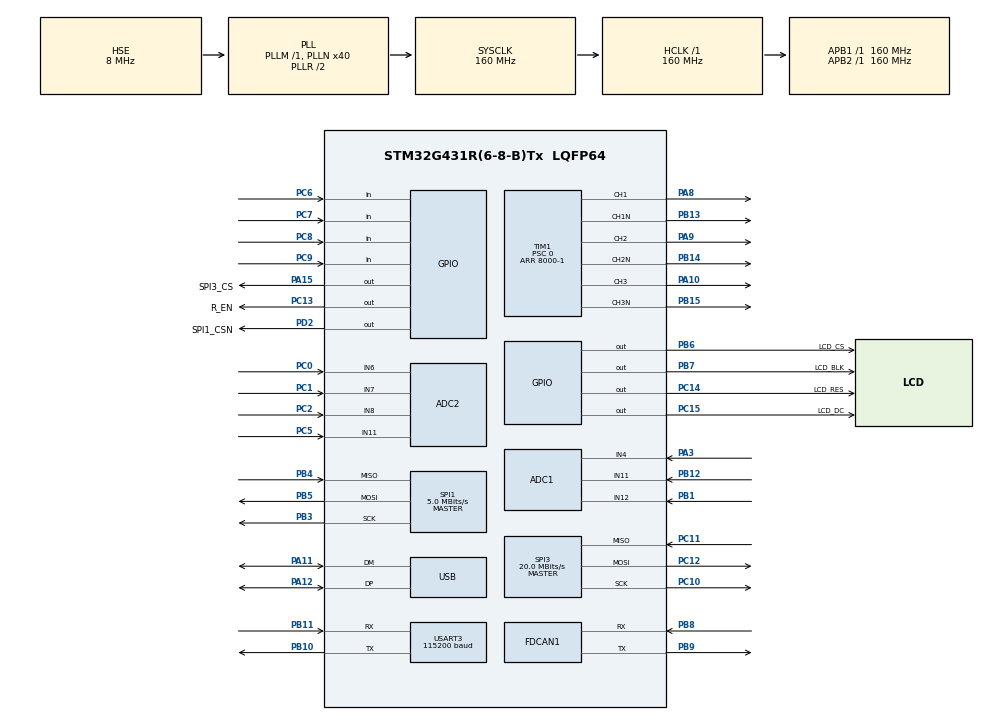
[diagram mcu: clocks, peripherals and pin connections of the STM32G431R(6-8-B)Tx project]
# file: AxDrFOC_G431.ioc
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ADC1.ContinuousConvMode=DISABLE
ADC1.DMAContinuousRequests=ENABLE
ADC1.DiscontinuousConvMode=ENABLE
ADC1.EOCSelection=ADC_EOC_SEQ_CONV
ADC1.EnableInjectedConversion=ENABLE
ADC1.EnableRegularConversion=DISABLE
ADC1.ExternalTrigInjecConv=ADC_EXTERNALTRIGINJEC_T1_TRGO2
ADC1.ExternalTrigInjecConvEdge=ADC_EXTERNALTRIGINJECCONV_EDGE_RISING
ADC1.InjNumberOfConversion=2
ADC1.InjectedChannel-1\#ChannelInjectedConversion=ADC_CHANNEL_4
ADC1.InjectedChannel-6\#ChannelInjectedConversion=ADC_CHANNEL_4
ADC1.InjectedConvMode=Discontinuous
ADC1.InjectedOffsetNumber-1\#ChannelInjectedConversion=ADC_OFFSET_NONE
ADC1.InjectedOffsetNumber-6\#ChannelInjectedConversion=ADC_OFFSET_NONE
ADC1.InjectedRank-1\#ChannelInjectedConversion=1
ADC1.InjectedRank-6\#ChannelInjectedConversion=2
ADC1.InjectedSamplingTime-1\#ChannelInjectedConversion=ADC_SAMPLETIME_12CYCLES_5
ADC1.InjectedSamplingTime-6\#ChannelInjectedConversion=ADC_SAMPLETIME_12CYCLES_5
ADC1.Rank2_Channel=ADC_CHANNEL_4
ADC1.master=1
ADC2.Channel-11\#ChannelRegularConversion=ADC_CHANNEL_11
ADC2.Channel-12\#ChannelRegularConversion=ADC_CHANNEL_6
ADC2.Channel-13\#ChannelRegularConversion=ADC_CHANNEL_7
ADC2.Channel-14\#ChannelRegularConversion=ADC_CHANNEL_8
ADC2.ContinuousConvMode=ENABLE
ADC2.DMAContinuousRequests=ENABLE
ADC2.EnableInjectedConversion=ENABLE
ADC2.EnableRegularConversion=ENABLE
ADC2.ExternalTrigInjecConv=ADC_EXTERNALTRIGINJEC_T1_CC4
ADC2.ExternalTrigInjecConvEdge=ADC_EXTERNALTRIGINJECCONV_EDGE_FALLING
ADC2.InjNumberOfConversion=1
ADC2.InjectedChannel-1\#ChannelInjectedConversion=ADC_CHANNEL_11
ADC2.InjectedOffsetNumber-1\#ChannelInjectedConversion=ADC_OFFSET_NONE
ADC2.InjectedRank-1\#ChannelInjectedConversion=1
ADC2.InjectedSamplingTime-1\#ChannelInjectedConversion=ADC_SAMPLETIME_47CYCLES_5
ADC2.NbrOfConversion=4
ADC2.NbrOfConversionFlag=1
ADC2.OffsetNumber-11\#ChannelRegularConversion=ADC_OFFSET_NONE
ADC2.OffsetNumber-12\#ChannelRegularConversion=ADC_OFFSET_NONE
ADC2.OffsetNumber-13\#ChannelRegularConversion=ADC_OFFSET_NONE
ADC2.OffsetNumber-14\#ChannelRegularConversion=ADC_OFFSET_NONE
ADC2.Rank-11\#ChannelRegularConversion=1
ADC2.Rank-12\#ChannelRegularConversion=2
ADC2.Rank-13\#ChannelRegularConversion=3
ADC2.Rank-14\#ChannelRegularConversion=4
ADC2.SamplingTime-11\#ChannelRegularConversion=ADC_SAMPLETIME_640CYCLES_5
ADC2.SamplingTime-12\#ChannelRegularConversion=ADC_SAMPLETIME_47CYCLES_5
ADC2.SamplingTime-13\#ChannelRegularConversion=ADC_SAMPLETIME_47CYCLES_5
ADC2.SamplingTime-14\#ChannelRegularConversion=ADC_SAMPLETIME_47CYCLES_5
Dma.ADC1.3.Direction=DMA_PERIPH_TO_MEMORY
Dma.ADC1.3.EventEnable=DISABLE
Dma.ADC1.3.Instance=DMA1_Channel4
Dma.ADC1.3.MemDataAlignment=DMA_MDATAALIGN_HALFWORD
Dma.ADC1.3.MemInc=DMA_MINC_ENABLE
Dma.ADC1.3.Mode=DMA_CIRCULAR
Dma.ADC1.3.PeriphDataAlignment=DMA_PDATAALIGN_HALFWORD
Dma.ADC1.3.PeriphInc=DMA_PINC_DISABLE
Dma.ADC1.3.Polarity=HAL_DMAMUX_REQ_GEN_RISING
Dma.ADC1.3.Priority=DMA_PRIORITY_LOW
Dma.ADC1.3.RequestNumber=1
Dma.ADC1.3.SignalID=NONE
Dma.ADC1.3.SyncEnable=DISABLE
Dma.ADC1.3.SyncPolarity=HAL_DMAMUX_SYNC_NO_EVENT
Dma.ADC1.3.SyncRequestNumber=1
Dma.ADC1.3.SyncSignalID=NONE
Dma.ADC2.2.Direction=DMA_PERIPH_TO_MEMORY
Dma.ADC2.2.EventEnable=DISABLE
Dma.ADC2.2.Instance=DMA1_Channel3
Dma.ADC2.2.MemDataAlignment=DMA_MDATAALIGN_HALFWORD
Dma.ADC2.2.MemInc=DMA_MINC_ENABLE
Dma.ADC2.2.Mode=DMA_CIRCULAR
Dma.ADC2.2.PeriphDataAlignment=DMA_PDATAALIGN_HALFWORD
Dma.ADC2.2.PeriphInc=DMA_PINC_DISABLE
Dma.ADC2.2.Polarity=HAL_DMAMUX_REQ_GEN_RISING
Dma.ADC2.2.Priority=DMA_PRIORITY_LOW
Dma.ADC2.2.RequestNumber=1
Dma.ADC2.2.SignalID=NONE
Dma.ADC2.2.SyncEnable=DISABLE
Dma.ADC2.2.SyncPolarity=HAL_DMAMUX_SYNC_NO_EVENT
Dma.ADC2.2.SyncRequestNumber=1
Dma.ADC2.2.SyncSignalID=NONE
Dma.Request0=USART3_RX
Dma.Request1=USART3_TX
Dma.Request2=ADC2
Dma.Request3=ADC1
Dma.USART3_RX.0.Direction=DMA_PERIPH_TO_MEMORY
Dma.USART3_RX.0.EventEnable=DISABLE
Dma.USART3_RX.0.Instance=DMA2_Channel1
Dma.USART3_RX.0.MemDataAlignment=DMA_MDATAALIGN_BYTE
Dma.USART3_RX.0.MemInc=DMA_MINC_ENABLE
Dma.USART3_RX.0.Mode=DMA_NORMAL
Dma.USART3_RX.0.PeriphDataAlignment=DMA_PDATAALIGN_BYTE
Dma.USART3_RX.0.PeriphInc=DMA_PINC_DISABLE
Dma.USART3_RX.0.Polarity=HAL_DMAMUX_REQ_GEN_RISING
Dma.USART3_RX.0.Priority=DMA_PRIORITY_LOW
Dma.USART3_RX.0.RequestNumber=1
Dma.USART3_RX.0.SignalID=NONE
Dma.USART3_RX.0.SyncEnable=DISABLE
Dma.USART3_RX.0.SyncPolarity=HAL_DMAMUX_SYNC_NO_EVENT
Dma.USART3_RX.0.SyncRequestNumber=1
Dma.USART3_RX.0.SyncSignalID=NONE
Dma.USART3_TX.1.Direction=DMA_MEMORY_TO_PERIPH
Dma.USART3_TX.1.EventEnable=DISABLE
Dma.USART3_TX.1.Instance=DMA1_Channel2
Dma.USART3_TX.1.MemDataAlignment=DMA_MDATAALIGN_BYTE
Dma.USART3_TX.1.MemInc=DMA_MINC_ENABLE
Dma.USART3_TX.1.Mode=DMA_NORMAL
Dma.USART3_TX.1.PeriphDataAlignment=DMA_PDATAALIGN_BYTE
Dma.USART3_TX.1.PeriphInc=DMA_PINC_DISABLE
Dma.USART3_TX.1.Polarity=HAL_DMAMUX_REQ_GEN_RISING
Dma.USART3_TX.1.Priority=DMA_PRIORITY_LOW
Dma.USART3_TX.1.RequestNumber=1
Dma.USART3_TX.1.SignalID=NONE
Dma.USART3_TX.1.SyncEnable=DISABLE
Dma.USART3_TX.1.SyncPolarity=HAL_DMAMUX_SYNC_NO_EVENT
Dma.USART3_TX.1.SyncRequestNumber=1
Dma.USART3_TX.1.SyncSignalID=NONE
FDCAN1.AutoRetransmission=ENABLE
FDCAN1.CalculateBaudRateNominal=1000000
FDCAN1.CalculateTimeBitNominal=1000
FDCAN1.CalculateTimeQuantumNominal=12.5
FDCAN1.DataPrescaler=1
FDCAN1.DataSyncJumpWidth=1
FDCAN1.DataTimeSeg1=14
FDCAN1.DataTimeSeg2=1
FDCAN1.ExtFiltersNbr=8
FDCAN1.FrameFormat=FDCAN_FRAME_FD_BRS
FDCAN1.NominalPrescaler=1
FDCAN1.NominalSyncJumpWidth=20
FDCAN1.NominalTimeSeg1=59
FDCAN1.NominalTimeSeg2=20
FDCAN1.ProtocolException=DISABLE
FDCAN1.StdFiltersNbr=16
FDCAN1.TransmitPause=ENABLE
Mcu.Family=STM32G4
Mcu.Name=STM32G431R(6-8-B)Tx
Mcu.Package=LQFP64
NVIC.ADC1_2_IRQn=true\:0\:0\:true\:false\:true\:true\:true\:true
NVIC.DMA1_Channel2_IRQn=true\:0\:0\:false\:false\:true\:false\:true\:true
NVIC.DMA1_Channel3_IRQn=true\:0\:0\:false\:false\:true\:false\:true\:true
NVIC.DMA1_Channel4_IRQn=true\:0\:0\:false\:false\:true\:false\:true\:true
NVIC.DMA2_Channel1_IRQn=true\:0\:0\:false\:false\:true\:false\:true\:true
NVIC.PriorityGroup=NVIC_PRIORITYGROUP_4
NVIC.TIM1_UP_TIM16_IRQn=true\:1\:0\:true\:false\:true\:true\:true\:true
NVIC.TIM3_IRQn=true\:2\:0\:true\:false\:true\:true\:true\:true
NVIC.USART3_IRQn=true\:0\:0\:false\:false\:true\:true\:true\:true
NVIC.USB_LP_IRQn=true\:3\:0\:true\:false\:true\:true\:true\:true
PA10.Signal=S_TIM1_CH3
PA11.Mode=Device
PA11.Signal=USB_DM
PA12.Mode=Device
PA12.Signal=USB_DP
PA13.Mode=Serial_Wire
PA13.Signal=SYS_JTMS-SWDIO
PA14.Mode=Serial_Wire
PA14.Signal=SYS_JTCK-SWCLK
PA15.GPIO_Label=SPI3_CS
PA15.GPIO_PuPd=GPIO_PULLUP
PA15.Signal=GPIO_Output
PA3.Mode=IN4-Single-Ended
PA3.Signal=ADC1_IN4
PA8.Signal=S_TIM1_CH1
PA9.Signal=S_TIM1_CH2
PB1.Mode=IN12-Single-Ended
PB1.Signal=ADC1_IN12
PB10.Mode=Asynchronous
PB10.Signal=USART3_TX
PB11.Mode=Asynchronous
PB11.Signal=USART3_RX
PB12.Mode=IN11-Single-Ended
PB12.Signal=ADC1_IN11
PB13.Mode=PWM Generation1 CH1 CH1N
PB13.Signal=TIM1_CH1N
PB14.Mode=PWM Generation2 CH2 CH2N
PB14.Signal=TIM1_CH2N
PB15.Mode=PWM Generation3 CH3 CH3N
PB15.Signal=TIM1_CH3N
PB3.Mode=Full_Duplex_Master
PB3.Signal=SPI1_SCK
PB4.Mode=Full_Duplex_Master
PB4.Signal=SPI1_MISO
PB5.Mode=Full_Duplex_Master
PB5.Signal=SPI1_MOSI
PB6.GPIO_Label=LCD_CS
PB6.GPIO_PuPd=GPIO_PULLDOWN
PB6.PinState=GPIO_PIN_RESET
PB6.Signal=GPIO_Output
PB7.GPIO_Label=LCD_BLK
PB7.GPIO_PuPd=GPIO_PULLDOWN
PB7.Signal=GPIO_Output
PB8-BOOT0.Mode=FDCAN_Activate
PB8-BOOT0.Signal=FDCAN1_RX
PB9.Mode=FDCAN_Activate
PB9.Signal=FDCAN1_TX
PC0.Mode=IN6-Single-Ended
PC0.Signal=ADC2_IN6
PC1.Mode=IN7-Single-Ended
PC1.Signal=ADC2_IN7
PC10.Mode=Full_Duplex_Master
PC10.Signal=SPI3_SCK
PC11.Mode=Full_Duplex_Master
PC11.Signal=SPI3_MISO
PC12.Mode=Full_Duplex_Master
PC12.Signal=SPI3_MOSI
PC13.GPIO_Label=R_EN
PC13.Signal=GPIO_Output
PC14-OSC32_IN.GPIO_Label=LCD_RES
PC14-OSC32_IN.GPIO_PuPd=GPIO_PULLUP
PC14-OSC32_IN.PinState=GPIO_PIN_SET
PC14-OSC32_IN.Signal=GPIO_Output
PC15-OSC32_OUT.GPIO_Label=LCD_DC
PC15-OSC32_OUT.GPIO_PuPd=GPIO_PULLDOWN
PC15-OSC32_OUT.PinState=GPIO_PIN_SET
PC15-OSC32_OUT.Signal=GPIO_Output
PC2.Mode=IN8-Single-Ended
PC2.Signal=ADC2_IN8
PC5.Mode=IN11-Single-Ended
PC5.Signal=ADC2_IN11
PC6.GPIO_PuPd=GPIO_PULLUP
PC6.Signal=GPIO_Input
PC7.GPIO_PuPd=GPIO_PULLUP
PC7.Signal=GPIO_Input
PC8.GPIO_PuPd=GPIO_PULLUP
PC8.Signal=GPIO_Input
PC9.GPIO_PuPd=GPIO_PULLUP
PC9.Signal=GPIO_Input
PD2.GPIO_Label=SPI1_CSN
PD2.GPIO_PuPd=GPIO_PULLDOWN
PD2.Signal=GPIO_Output
PF0-OSC_IN.Mode=HSE-External-Oscillator
PF0-OSC_IN.Signal=RCC_OSC_IN
PF1-OSC_OUT.Mode=HSE-External-Oscillator
PF1-OSC_OUT.Signal=RCC_OSC_OUT
ProjectManager.HeapSize=0x200
ProjectManager.StackSize=0x400
ProjectManager.TargetToolchain=MDK-ARM V5.32
RCC.ADC12Freq_Value=160000000
RCC.ADC345Freq_Value=160000000
RCC.AHBFreq_Value=160000000
RCC.APB1Freq_Value=160000000
RCC.APB1TimFreq_Value=160000000
RCC.APB2Freq_Value=160000000
RCC.APB2TimFreq_Value=160000000
RCC.CK48CLockSelection=RCC_USBCLKSOURCE_HSI48
RCC.CortexFreq_Value=160000000
RCC.EXTERNAL_CLOCK_VALUE=12288000
RCC.FDCANCLockSelection=RCC_FDCANCLKSOURCE_PLL
RCC.HCLKFreq_Value=160000000
RCC.HSE_VALUE=8000000
RCC.HSI48_VALUE=48000000
RCC.HSI_VALUE=16000000
RCC.LSE_VALUE=32768
RCC.PLLN=40
RCC.PLLQ=RCC_PLLQ_DIV4
RCC.PLLSourceVirtual=RCC_PLLSOURCE_HSE
RCC.SYSCLKFreq_VALUE=160000000
RCC.SYSCLKSource=RCC_SYSCLKSOURCE_PLLCLK
RCC.USBFreq_Value=48000000
RCC.VCOOutputFreq_Value=320000000
SH.S_TIM1_CH1.0=TIM1_CH1,PWM Generation1 CH1 CH1N
SH.S_TIM1_CH2.0=TIM1_CH2,PWM Generation2 CH2 CH2N
SH.S_TIM1_CH3.0=TIM1_CH3,PWM Generation3 CH3 CH3N
SPI1.BaudRatePrescaler=SPI_BAUDRATEPRESCALER_32
SPI1.CLKPhase=SPI_PHASE_2EDGE
SPI1.CLKPolarity=SPI_POLARITY_HIGH
SPI1.CRCCalculation=SPI_CRCCALCULATION_DISABLE
SPI1.CalculateBaudRate=5.0 MBits/s
SPI1.DataSize=SPI_DATASIZE_16BIT
SPI1.Direction=SPI_DIRECTION_2LINES
SPI1.FirstBit=SPI_FIRSTBIT_MSB
SPI1.Mode=SPI_MODE_MASTER
SPI1.NSS=SPI_NSS_SOFT
SPI1.TIMode=SPI_TIMODE_DISABLE
SPI1.VirtualType=VM_MASTER
SPI3.BaudRatePrescaler=SPI_BAUDRATEPRESCALER_8
SPI3.CLKPhase=SPI_PHASE_2EDGE
SPI3.CLKPolarity=SPI_POLARITY_HIGH
SPI3.CRCCalculation=SPI_CRCCALCULATION_DISABLE
SPI3.CalculateBaudRate=20.0 MBits/s
SPI3.DataSize=SPI_DATASIZE_8BIT
SPI3.Direction=SPI_DIRECTION_2LINES
SPI3.Mode=SPI_MODE_MASTER
SPI3.VirtualType=VM_MASTER
TIM1.AutoReloadPreload=TIM_AUTORELOAD_PRELOAD_ENABLE
TIM1.AutomaticOutput=TIM_AUTOMATICOUTPUT_DISABLE
TIM1.Break2Filter=0
TIM1.Break2Polarity=TIM_BREAK2POLARITY_HIGH
TIM1.Break2State=TIM_BREAK2_DISABLE
TIM1.BreakFilter=0
TIM1.BreakPolarity=TIM_BREAKPOLARITY_HIGH
TIM1.BreakState=TIM_BREAK_DISABLE
TIM1.Channel-PWM\ Generation1\ CH1\ CH1N=TIM_CHANNEL_1
TIM1.Channel-PWM\ Generation2\ CH2\ CH2N=TIM_CHANNEL_2
TIM1.Channel-PWM\ Generation3\ CH3\ CH3N=TIM_CHANNEL_3
TIM1.Channel-PWM\ Generation4\ No\ Output=TIM_CHANNEL_4
TIM1.Channel-PWM\ Generation6\ No\ Output=TIM_CHANNEL_6
TIM1.ClearInputSource=TIM_CLEARINPUTSOURCE_NONE
TIM1.ClockDivision=TIM_CLOCKDIVISION_DIV1
TIM1.CounterMode=TIM_COUNTERMODE_CENTERALIGNED3
TIM1.DeadTime=100
TIM1.Dithering=Disable
TIM1.LockLevel=TIM_LOCKLEVEL_OFF
TIM1.OC4Preload_PWM=ENABLE
TIM1.OCFastMode_PWM-PWM\ Generation4\ No\ Output=TIM_OCFAST_DISABLE
TIM1.OCIdleState_4=TIM_OCIDLESTATE_RESET
TIM1.OCMode_PWM-PWM\ Generation1\ CH1\ CH1N=TIM_OCMODE_PWM2
TIM1.OCMode_PWM-PWM\ Generation2\ CH2\ CH2N=TIM_OCMODE_PWM2
TIM1.OCMode_PWM-PWM\ Generation3\ CH3\ CH3N=TIM_OCMODE_PWM2
TIM1.OCMode_PWM-PWM\ Generation4\ No\ Output=TIM_OCMODE_PWM2
TIM1.OCMode_PWM-PWM\ Generation6\ No\ Output=TIM_OCMODE_PWM2
TIM1.OCPolarity_4=TIM_OCPOLARITY_HIGH
TIM1.OffStateIDLEMode=TIM_OSSI_DISABLE
TIM1.PeriodNoDither=8000-1
TIM1.Prescaler=0
TIM1.PulseNoDither_4=0
TIM1.RepetitionCounter=0
TIM1.SourceBRK2COMP1=TIM_BREAKINPUTSOURCE_DISABLE
TIM1.SourceBRK2COMP2=TIM_BREAKINPUTSOURCE_DISABLE
TIM1.SourceBRK2COMP3=TIM_BREAKINPUTSOURCE_DISABLE
TIM1.SourceBRK2COMP4=TIM_BREAKINPUTSOURCE_DISABLE
TIM1.SourceBRK2DigInput=TIM_BREAKINPUTSOURCE_DISABLE
TIM1.SourceBRKCOMP1=TIM_BREAKINPUTSOURCE_DISABLE
TIM1.SourceBRKCOMP2=TIM_BREAKINPUTSOURCE_DISABLE
TIM1.SourceBRKCOMP3=TIM_BREAKINPUTSOURCE_DISABLE
TIM1.SourceBRKCOMP4=TIM_BREAKINPUTSOURCE_DISABLE
TIM1.SourceBRKDigInput=TIM_BREAKINPUTSOURCE_DISABLE
TIM1.TIM_MasterOutputTrigger=TIM_TRGO_RESET
TIM1.TIM_MasterOutputTrigger2=TIM_TRGO2_OC4REF_RISING_OC6REF_RISING
TIM1.TIM_MasterSlaveMode=TIM_MASTERSLAVEMODE_DISABLE
TIM3.AutoReloadPreload=TIM_AUTORELOAD_PRELOAD_DISABLE
TIM3.PeriodNoDither=999
TIM3.Prescaler=159
USART3.BaudRate=115200
USART3.VirtualMode-Asynchronous=VM_ASYNC
USB.DeviceSpeed=PCD_SPEED_FULL
USB.Sof_enable=DISABLE
USB.battery_charging_enable=DISABLE
USB.low_power_enable=DISABLE
USB.lpm_enable=DISABLE
USB.phy_itface=PCD_PHY_EMBEDDED
USB_DEVICE.CLASS_NAME_FS=CDC
USB_DEVICE.VirtualMode=Cdc
USB_DEVICE.VirtualModeFS=Cdc_FS
VP_SYS_VS_DBSignals.Mode=DisableDeadBatterySignals
VP_TIM1_VS_ClockSourceINT.Mode=Internal
VP_TIM1_VS_no_output4.Mode=PWM Generation4 No Output
VP_TIM1_VS_no_output6.Mode=PWM Generation6 No Output
VP_TIM3_VS_ClockSourceINT.Mode=Internal
VP_USB_DEVICE_VS_USB_DEVICE_CDC_FS.Mode=CDC_FS
board=custom

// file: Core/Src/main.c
/* USER CODE BEGIN Header */
/**
  ******************************************************************************
  * @file           : main.c
  * @brief          : Main program body
  ******************************************************************************
  * @attention
  *
  * Copyright (c) 2026 STMicroelectronics.
  * All rights reserved.
  *
  * This software is licensed under terms that can be found in the LICENSE file
  * in the root directory of this software component.
  * If no LICENSE file comes with this software, it is provided AS-IS.
  *
  ******************************************************************************
  */
/* USER CODE END Header */
#include "main.h"
#include "adc.h"
#include "dma.h"
#include "fdcan.h"
#include "spi.h"
#include "tim.h"
#include "usart.h"
#include "usb_device.h"
#include "gpio.h"

/* USER CODE BEGIN Includes */
#include "common.h"
#include "modlue.h"
/* USER CODE END Includes */

void SystemClock_Config(void);

/* USER CODE BEGIN 0 */
uint16_t adc1_buff[2];
uint16_t adc2_buff[4];
/* USER CODE END 0 */

int main(void)
{

  /* MCU Configuration--------------------------------------------------------*/

  /* Reset of all peripherals, Initializes the Flash interface and the Systick. */
  HAL_Init();

  /* Configure the system clock */
  SystemClock_Config();

  /* Initialize all configured peripherals */
  MX_GPIO_Init();
  MX_DMA_Init();
  MX_ADC1_Init();
  MX_ADC2_Init();
  MX_FDCAN1_Init();
  MX_SPI1_Init();
  MX_SPI3_Init();
  MX_TIM1_Init();
  MX_TIM3_Init();
  MX_USART3_UART_Init();
  MX_USB_Device_Init();
  /* USER CODE BEGIN 2 */

  /* 1. ADC 校准 */
  HAL_ADCEx_Calibration_Start(&hadc1, ADC_SINGLE_ENDED);
  HAL_ADCEx_Calibration_Start(&hadc2, ADC_SINGLE_ENDED);

  /* 2. FOC 参数初始化 + 电流零偏采集 (内部自行使能/关闭 ADC) */
  pmsm_init();

  /* 3. 启动 ADC 硬件触发 */
  HAL_ADCEx_InjectedStart_IT(&hadc1);   /* ADC1 注入: JEOS 中断 */
  HAL_ADCEx_InjectedStart(&hadc2);      /* ADC2 注入: Vbus */
  HAL_ADC_Start_DMA(&hadc2, (uint32_t *)adc2_buff, 4);  /* ADC2 规则: DMA */

  /* 4. 启动 PWM (CH1~3 互补 + CH4/CH6 触发) */
  foc_pwm_start();

  /* 5. 启动 TIM1 更新中断 (20kHz FOC) + TIM3 (1kHz 速度环) */
  HAL_TIM_Base_Start_IT(&htim1);
  HAL_TIM_Base_Start_IT(&htim3);

  /* 6. 使能驱动器 + 上电自启动 */
  HAL_GPIO_WritePin(R_EN_GPIO_Port, R_EN_Pin, GPIO_PIN_SET);
  pmsm_power_on_autostart(&pm);

  /* USER CODE END 2 */

  /* Infinite loop */
  while (1)
  {

  }
}

void SystemClock_Config(void)
{
  RCC_OscInitTypeDef RCC_OscInitStruct = {0};
  RCC_ClkInitTypeDef RCC_ClkInitStruct = {0};

  /** Configure the main internal regulator output voltage
  */
  HAL_PWREx_ControlVoltageScaling(PWR_REGULATOR_VOLTAGE_SCALE1_BOOST);

  /** Initializes the RCC Oscillators according to the specified parameters
  * in the RCC_OscInitTypeDef structure.
  */
  RCC_OscInitStruct.OscillatorType = RCC_OSCILLATORTYPE_HSI48|RCC_OSCILLATORTYPE_HSE;
  RCC_OscInitStruct.HSEState = RCC_HSE_ON;
  RCC_OscInitStruct.HSI48State = RCC_HSI48_ON;
  RCC_OscInitStruct.PLL.PLLState = RCC_PLL_ON;
  RCC_OscInitStruct.PLL.PLLSource = RCC_PLLSOURCE_HSE;
  RCC_OscInitStruct.PLL.PLLM = RCC_PLLM_DIV1;
  RCC_OscInitStruct.PLL.PLLN = 40;
  RCC_OscInitStruct.PLL.PLLP = RCC_PLLP_DIV2;
  RCC_OscInitStruct.PLL.PLLQ = RCC_PLLQ_DIV4;
  RCC_OscInitStruct.PLL.PLLR = RCC_PLLR_DIV2;
  if (HAL_RCC_OscConfig(&RCC_OscInitStruct) != HAL_OK)
  {
    Error_Handler();
  }

  /** Initializes the CPU, AHB and APB buses clocks
  */
  RCC_ClkInitStruct.ClockType = RCC_CLOCKTYPE_HCLK|RCC_CLOCKTYPE_SYSCLK
                              |RCC_CLOCKTYPE_PCLK1|RCC_CLOCKTYPE_PCLK2;
  RCC_ClkInitStruct.SYSCLKSource = RCC_SYSCLKSOURCE_PLLCLK;
  RCC_ClkInitStruct.AHBCLKDivider = RCC_SYSCLK_DIV1;
  RCC_ClkInitStruct.APB1CLKDivider = RCC_HCLK_DIV1;
  RCC_ClkInitStruct.APB2CLKDivider = RCC_HCLK_DIV1;

  if (HAL_RCC_ClockConfig(&RCC_ClkInitStruct, FLASH_LATENCY_4) != HAL_OK)
  {
    Error_Handler();
  }
}

void Error_Handler(void)
{
  __disable_irq();
  while (1)
  {
  }
}
